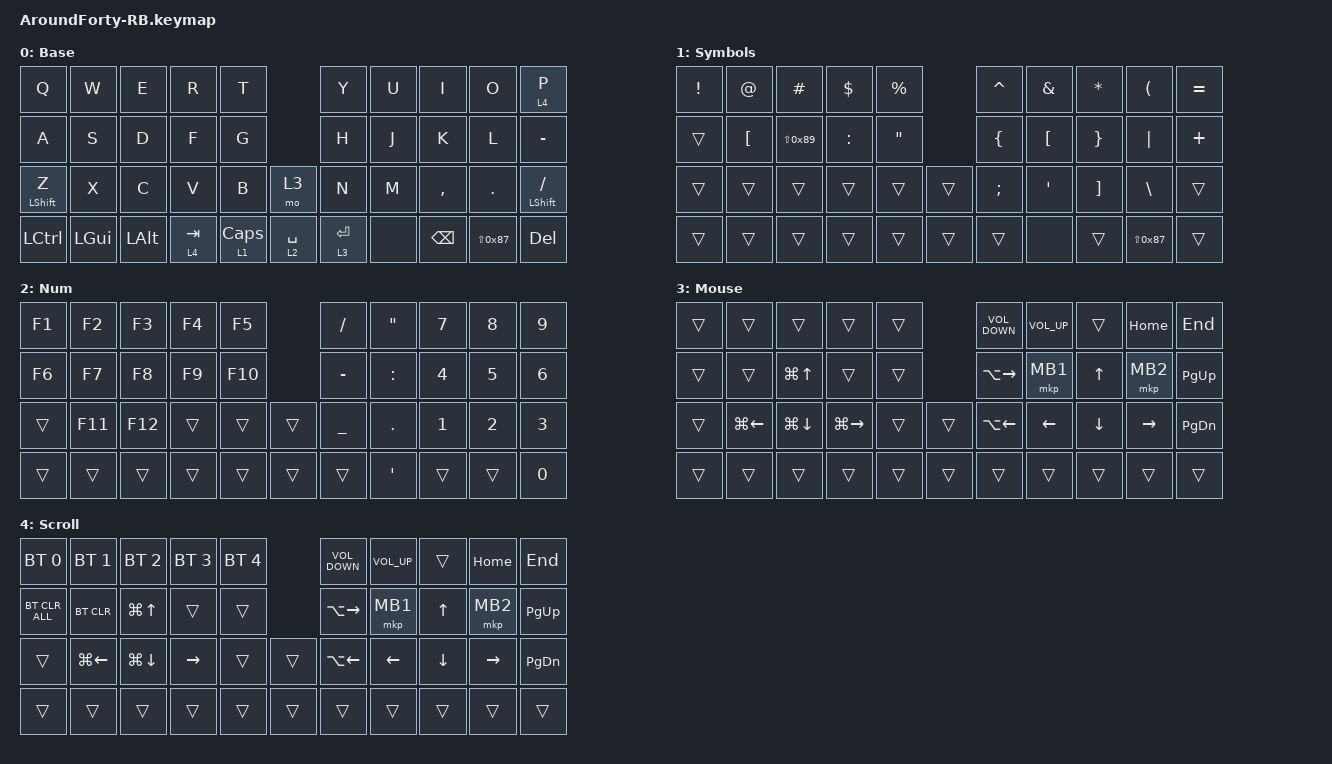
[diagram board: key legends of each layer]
#include <behaviors/rgbled_widget.dtsi>
#include <behaviors.dtsi>
#include <dt-bindings/zmk/bt.h>
#include <dt-bindings/zmk/keys.h>
#include <dt-bindings/zmk/pointing.h>

// OS設定を日本語キーボードのまま使用するための変換定義

#define JP_DQUOTE       AT                // "
#define JP_AMPERSAND    CARET             // &
#define JP_QUOTE        AMPERSAND         // '
#define JP_EQUAL        UNDER             // =
#define JP_CARET        EQUAL             // ^
#define JP_YEN          0x89              // ¥
#define JP_PLUS         COLON             // +
#define JP_TILDE        PLUS              // ~
#define JP_PIPE         LS(0x89)          // |
#define JP_AT           LEFT_BRACKET      // @
#define JP_COLON        SINGLE_QUOTE      // :
#define JP_ASTERISK     DOUBLE_QUOTES     // *
#define JP_BACKQUOTE    LEFT_BRACE        // `
#define JP_UNDERSCORE   LS(0x87)          // _
#define JP_LBRACKET     RIGHT_BRACKET     // [
#define JP_RBRACKET     BACKSLASH         // ]
#define JP_LPAREN       ASTERISK          // (
#define JP_RPAREN       LEFT_PARENTHESIS  // )
#define JP_LBRACE       RIGHT_BRACE       // {
#define JP_RBRACE       PIPE              // }
#define JP_KANA         LANGUAGE_1        // かな
#define JP_EISU         LANGUAGE_2        // 英数
#define JP_HANZEN       GRAVE             // 半角/全角

&mt {
    flavor = "balanced";
    quick-tap-ms = <0>;
};

/ {
    combos {
        compatible = "zmk,combos";

        Escape {
            bindings = <&kp ESCAPE>;
            key-positions = <0 1>;
        };
    };

    macros {
        to_layer_0: to_layer_0 {
            compatible = "zmk,behavior-macro-one-param";
            #binding-cells = <1>;
            bindings = <&to 0 &macro_param_1to1 &kp MACRO_PLACEHOLDER>;
            label = "TO_LAYER_0";
        };

        // Windows用入力切り替え：Alt + Grave (~)

        ime_tog: ime_toggle {
            compatible = "zmk,behavior-macro";
            #binding-cells = <0>;
            bindings =
                <&macro_press>,
                <&kp LALT>,
                <&macro_tap>,
                <&kp GRAVE>,
                <&macro_release>,
                <&kp LALT>;
        };

        // macOS用入力切り替え：Ctrl + Space

        mac_ime: mac_ime_toggle {
            compatible = "zmk,behavior-macro";
            #binding-cells = <0>;
            bindings =
                <&macro_press>,
                <&kp LCTRL>,
                <&macro_tap>,
                <&kp SPACE>,
                <&macro_release>,
                <&kp LCTRL>;
        };
    };

    behaviors {
        lt_to_layer_0: lt_to_layer_0 {
            compatible = "zmk,behavior-hold-tap";
            label = "LAYER_TAP_TO_0";
            bindings = <&mo>, <&to_layer_0>;

            #binding-cells = <2>;
            tapping-term-ms = <200>;
        };

        // 

        scroll_up_down: behavior_sensor_rotate_mouse_wheel_up_down {
            compatible = "zmk,behavior-sensor-rotate";
            #sensor-binding-cells = <0>;
            bindings = <&msc SCRL_UP>, <&msc SCRL_DOWN>;

            tap-ms = <20>;
        };
    };

    keymap {
        compatible = "zmk,keymap";

        Base {
            display-name = "Base";
            bindings = <
&kp Q             &kp W     &kp E         &kp R      &kp T                    &kp Y        &kp U  &kp I          &kp O              &lt 4 P
&kp A             &kp S     &kp D         &kp F      &kp G                    &kp H        &kp J  &kp K          &kp L              &kp MINUS
&mt LEFT_SHIFT Z  &kp X     &kp C         &kp V      &kp B       &mo 3        &kp N        &kp M  &kp COMMA      &kp PERIOD         &mt LSHIFT SLASH
&kp LCTRL         &kp LGUI  &kp LEFT_ALT  &lt 4 TAB  &lt 1 CAPS  &lt 2 SPACE  &lt 3 ENTER  &none  &kp BACKSPACE  &kp JP_UNDERSCORE  &kp DEL
            >;
        };

        Symbols {
            display-name = "Symbols";
            bindings = <
&kp EXCLAMATION  &kp AT_SIGN       &kp HASH     &kp DOLLAR  &kp PERCENT                &kp CARET         &kp AMPERSAND     &kp ASTERISK       &kp LEFT_PARENTHESIS  &kp EQUAL
&trans           &kp LEFT_BRACKET  &kp JP_PIPE  &kp COLON   &kp DOUBLE_QUOTES          &kp JP_BACKQUOTE  &kp LEFT_BRACKET  &kp RIGHT_BRACE    &kp PIPE              &kp PLUS
&trans           &trans            &trans       &trans      &trans             &trans  &kp SEMICOLON     &kp SQT           &kp RIGHT_BRACKET  &kp BACKSLASH         &trans
&trans           &trans            &trans       &trans      &trans             &trans  &trans            &none             &trans             &kp JP_UNDERSCORE     &trans
            >;
        };

        Num {
            bindings = <
&kp F1  &kp F2   &kp F3   &kp F4  &kp F5           &kp SLASH       &kp DOUBLE_QUOTES  &kp N7        &kp N8        &kp N9
&kp F6  &kp F7   &kp F8   &kp F9  &kp F10          &kp MINUS       &kp COLON          &kp NUMBER_4  &kp N5        &kp NUMBER_6
&trans  &kp F11  &kp F12  &trans  &trans   &trans  &kp UNDERSCORE  &kp PERIOD         &kp NUMBER_1  &kp NUMBER_2  &kp NUMBER_3
&trans  &trans   &trans   &trans  &trans   &trans  &trans          &kp SQT            &trans        &trans        &kp N0
            >;
        };

        Mouse {
            bindings = <
&trans  &trans        &trans        &trans         &trans          &kp C_VOLUME_DOWN  &kp C_VOLUME_UP  &trans          &kp HOME   &kp END
&trans  &trans        &kp LG(UP)    &trans         &trans          &kp LA(RIGHT)      &mkp MB1         &kp UP_ARROW    &mkp MB2   &kp PG_UP
&trans  &kp LG(LEFT)  &kp LG(DOWN)  &kp LG(RIGHT)  &trans  &trans  &kp LA(LEFT)       &kp LEFT_ARROW   &kp DOWN_ARROW  &kp RIGHT  &kp PAGE_DOWN
&trans  &trans        &trans        &trans         &trans  &trans  &trans             &trans           &trans          &trans     &trans
            >;
        };

        Scroll {
            display-name = "Scroll";
            bindings = <
&bt BT_SEL 0    &bt BT_SEL 1        &bt BT_SEL 2        &bt BT_SEL 3  &bt BT_SEL 4          &kp C_VOLUME_DOWN  &kp C_VOLUME_UP  &trans          &kp HOME   &kp END
&bt BT_CLR_ALL  &bt BT_CLR          &kp LG(UP)          &trans        &trans                &kp LA(RIGHT)      &mkp MB1         &kp UP          &mkp MB2   &kp PG_UP
&trans          &kp LG(LEFT_ARROW)  &kp LG(DOWN_ARROW)  &kp RIGHT     &trans        &trans  &kp LA(LEFT)       &kp LEFT         &kp DOWN_ARROW  &kp RIGHT  &kp PG_DN
&trans          &trans              &trans              &trans        &trans        &trans  &trans             &trans           &trans          &trans     &trans
            >;
        };
    };
};
